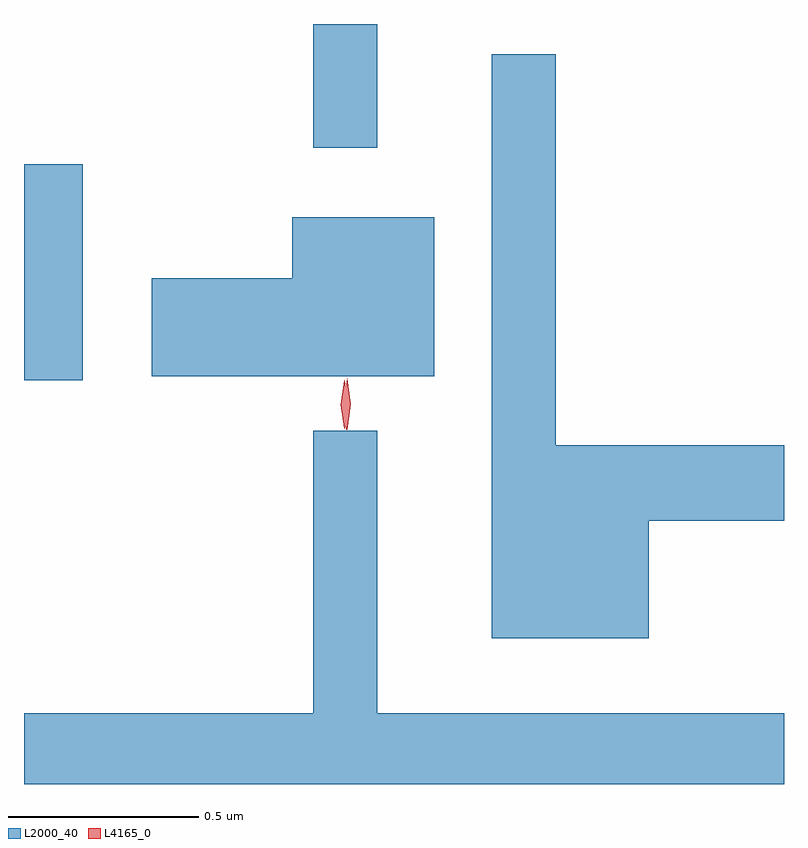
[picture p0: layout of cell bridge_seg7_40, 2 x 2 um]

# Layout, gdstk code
import gdstk
lib = gdstk.Library(unit=1e-6, precision=1e-09)
def R(c, l, rs):  # rectangles x0, y0, x1, y1
    for r in rs: c.add(gdstk.rectangle(r[:2], r[2:], *l))
def P(c, l, *ps):  # polygons
    for p in ps: c.add(gdstk.Polygon(p, *l))
L2000_40 = (2000, 40)
L4165_0 = (4165, 0)

bridge_seg7_40 = lib.new_cell('bridge_seg7_40')
R(bridge_seg7_40, L2000_40, [(1719.38,1790.941,1719.534,1791.509), (1720.141,1791.553,1720.309,1791.878)])
P(bridge_seg7_40, L2000_40, [(1721.024,1790.571),(1721.38,1790.571),(1721.38,1790.769),(1720.779,1790.769),(1720.779,1791.798),(1720.611,1791.798),(1720.611,1790.261),(1721.024,1790.261)],
  [(1720.459,1791.369),(1720.086,1791.369),(1720.086,1791.209),(1719.716,1791.209),(1719.716,1790.951),(1720.459,1790.951)],
  [(1721.38,1790.064),(1720.309,1790.064),(1720.309,1790.808),(1720.141,1790.808),(1720.141,1790.064),(1719.38,1790.064),(1719.38,1789.878),(1721.38,1789.878)])
P(bridge_seg7_40, L4165_0, [(1720.228,1790.81),(1720.22,1790.878),(1720.23,1790.945),(1720.231,1790.946),(1720.231,1790.945),(1720.24,1790.878),(1720.23,1790.81),(1720.229,1790.81)],
  [(1720.224,1790.813),(1720.223,1790.814),(1720.213,1790.876),(1720.223,1790.939),(1720.223,1790.94),(1720.224,1790.939),(1720.233,1790.877),(1720.224,1790.814)])

lib.write_gds('bridge_seg7_40.gds')
